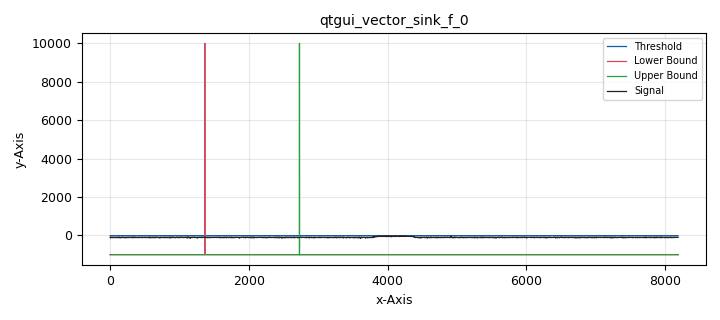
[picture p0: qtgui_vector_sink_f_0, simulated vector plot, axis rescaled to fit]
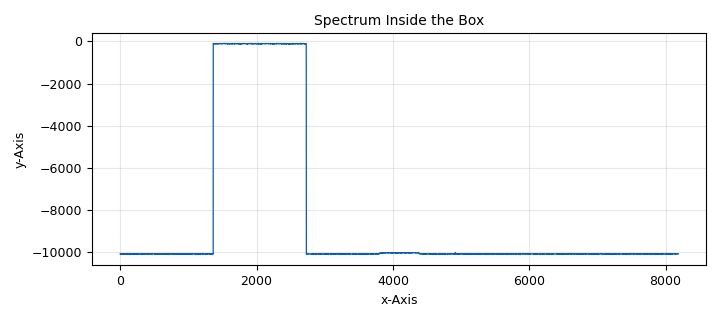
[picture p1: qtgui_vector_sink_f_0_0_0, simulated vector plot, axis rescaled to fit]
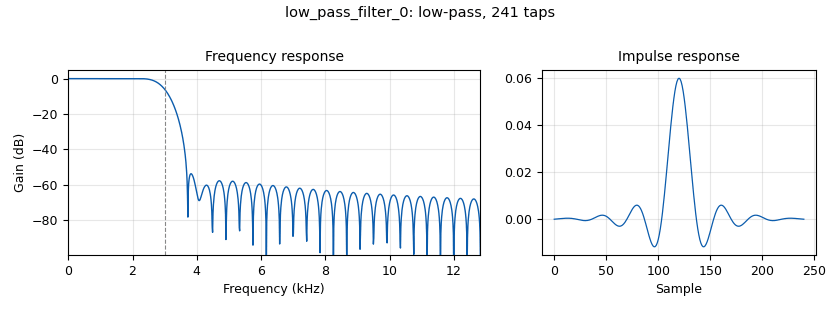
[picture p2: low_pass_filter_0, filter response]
options:
  parameters:
    author: muaddib
    description: Use range widgets as bounding boxes for operations on sub-band
    generate_options: qt_gui
    id: bandlimited_threshold_detector
    output_language: python
    title: Bandlimited Threshold Detector
  states: {}

blocks:
- name: below_zero
  id: variable
  parameters:
    value: '-1000'
  states: {}
- name: fft_size
  id: variable
  parameters:
    value: '8192'
  states: {}
- name: full_band_size
  id: variable
  parameters:
    value: fft_size
  states: {}
- name: in_box_spec_len
  id: variable
  parameters:
    value: np.abs(up_line_adj-low_line_adj)
  states: {}
- name: low_bound_vec_bottom_half
  id: variable
  parameters:
    value: (low_line_adj)*(below_zero,)
  states: {}
- name: low_bound_vec_top_half
  id: variable
  parameters:
    value: (fft_size-low_line_adj-1)*(below_zero,)
  states: {}
- name: low_line_adj
  id: variable_qtgui_range
  parameters:
    gui_hint: 0,0,1,1
    label: Lower Bound
    outputmsgname: value
    rangeType: int
    showports: 'False'
    start: '1'
    step: '1'
    stop: fft_size-1
    value: fft_size//6
  states: {}
- name: probe_out
  id: variable_function_probe
  parameters:
    block_id: vec_probe
    function_name: level
    poll_rate: '10'
    value: '0'
  states: {state: disabled}
- name: samp_rate
  id: variable
  parameters:
    value: '100000'
  states: {}
- name: thresh_adj
  id: variable_qtgui_range
  parameters:
    gui_hint: 0,1,1,1
    label: Thresh
    outputmsgname: value
    rangeType: int
    showports: 'False'
    start: '-200'
    step: '1'
    stop: '100'
    value: '-10'
  states: {}
- name: thresh_val
  id: variable
  parameters:
    value: '-10'
  states: {state: disabled}
- name: up_bound_vec_bottom_half
  id: variable
  parameters:
    value: (up_line_adj)*(below_zero,)
  states: {}
- name: up_bound_vec_top_half
  id: variable
  parameters:
    value: (fft_size-up_line_adj-1)*(below_zero,)
  states: {}
- name: up_line_adj
  id: variable_qtgui_range
  parameters:
    gui_hint: 0,2,1,1
    label: Upper Bound
    outputmsgname: value
    rangeType: int
    showports: 'False'
    start: '1'
    step: '1'
    stop: fft_size-1
    value: fft_size//3
  states: {}
- name: variable_function_probe_0
  id: variable_function_probe
  parameters:
    block_id: vec_probe
    function_name: level
    poll_rate: '10'
    value: '0'
  states: {state: disabled}
- name: vec_height
  id: variable
  parameters:
    value: '10000'
  states: {}
- name: analog_noise_source_x_0
  id: analog_noise_source_x
  parameters:
    amp: '0.8'
    noise_type: analog.GR_GAUSSIAN
    seed: '0'
    type: complex
  states: {}
- name: analog_noise_source_x_0_0
  id: analog_noise_source_x
  parameters:
    amp: '0.001'
    noise_type: analog.GR_GAUSSIAN
    seed: '0'
    type: complex
  states: {}
- name: analog_sig_source_x_0
  id: analog_sig_source_x
  parameters:
    amp: '0.2'
    freq: 10e3
    offset: '0'
    phase: '0'
    samp_rate: samp_rate
    type: complex
    waveform: analog.GR_COS_WAVE
  states: {}
- name: analog_sig_source_x_0_0
  id: analog_sig_source_x
  parameters:
    amp: '.15'
    freq: 15e3
    offset: '0'
    phase: '0'
    samp_rate: samp_rate
    type: complex
    waveform: analog.GR_COS_WAVE
  states: {}
- name: analog_sig_source_x_0_0_0
  id: analog_sig_source_x
  parameters:
    amp: '0.04'
    freq: '0.25'
    offset: '0'
    phase: '0'
    samp_rate: samp_rate
    type: complex
    waveform: analog.GR_SQR_WAVE
  states: {}
- name: analog_sig_source_x_0_0_0_0
  id: analog_sig_source_x
  parameters:
    amp: '0.15'
    freq: '0.4'
    offset: '0'
    phase: '0'
    samp_rate: samp_rate
    type: complex
    waveform: analog.GR_SQR_WAVE
  states: {}
- name: blocks_add_const_vxx_0
  id: blocks_add_const_vxx
  parameters:
    const: ((below_zero*10),)*(low_line_adj)+(0,)*in_box_spec_len+((below_zero*10),)*(fft_size-up_line_adj)
    type: float
    vlen: fft_size
  states: {}
- name: blocks_add_xx_0
  id: blocks_add_xx
  parameters:
    num_inputs: '4'
    type: complex
  states: {}
- name: blocks_max_xx_0
  id: blocks_max_xx
  parameters:
    num_inputs: '2'
    type: float
    vlen: fft_size
    vlen_out: fft_size
  states: {}
- name: blocks_multiply_xx_0
  id: blocks_multiply_xx
  parameters:
    type: complex
  states: {}
- name: blocks_multiply_xx_0_0
  id: blocks_multiply_xx
  parameters:
    type: complex
  states: {}
- name: blocks_throttle_0
  id: blocks_throttle
  parameters:
    samples_per_second: samp_rate
    type: complex
  states: {}
- name: epy_block_0
  id: epy_block
  parameters:
    _source_code: |
      """
      Embedded Python Blocks:

      Each time this file is saved, GRC will instantiate the first class it finds
      to get ports and parameters of your block. The arguments to __init__  will
      be the parameters. All of them are required to have default values!
      """

      import numpy as np
      from gnuradio import gr
      import time

      class blk(gr.sync_block):  # other base classes are basic_block, decim_block, interp_block
          """Embedded Python Block example - a simple multiply const"""

          def __init__(self, vec_len=8192, peak_detect_file="/tmp/indexes.data"):  # only default arguments here
              """arguments to this function show up as parameters in GRC"""
              gr.sync_block.__init__(
                  self,
                  name='Embedded Python Block',   # will show up in GRC
                  in_sig=[(np.float32,vec_len),(np.float32,vec_len)],
                  out_sig=None
              )
              # if an attribute with the same name as a parameter is found,
              # a callback is registered (properties work, too).
              self.peak_detect_file=peak_detect_file

          def work(self, input_items,output_items):
              for vecindx in range(len(input_items[0])):
                  if len(np.nonzero(input_items[0][vecindx] > input_items[1][vecindx][0])[0])>0:
                      #print("number of crossings: ", len(np.nonzero(input_items[0][vecindx] > input_items[1][vecindx][0])[0]))
                      #print(" level of crossings: ", np.nonzero(input_items[0][vecindx] > input_items[1][vecindx][0]))
                      #print(" index of crossings: ", input_items[0][vecindx][np.nonzero(input_items[0][vecindx] > input_items[1][0])])
                      with open(self.peak_detect_file,'a') as fobj:
                          fobj.write(str(time.time())+str(np.nonzero(input_items[0][vecindx] > input_items[1][vecindx][0])[0])+","+str(input_items[0][vecindx][np.nonzero(input_items[0][vecindx] > input_items[1][0])])+'\n')
              return len(input_items[0])
    peak_detect_file: '''/tmp/indexes.data'''
    vec_len: fft_size
  states: {}
- name: import_0
  id: import
  parameters:
    imports: import time
  states: {}
- name: import_0_0
  id: import
  parameters:
    imports: import numpy as np
  states: {}
- name: import_0_0_0
  id: import
  parameters:
    imports: import random
  states: {}
- name: logpwrfft_x_0
  id: logpwrfft_x
  parameters:
    average: 'False'
    avg_alpha: '1.0'
    fft_size: fft_size
    frame_rate: '30'
    ref_scale: '2'
    sample_rate: samp_rate
    shift: 'True'
    type: complex
  states: {}
- name: low_band_line
  id: blocks_vector_source_x
  parameters:
    repeat: 'True'
    type: float
    vector: low_bound_vec_bottom_half+(vec_height,)+low_bound_vec_top_half
    vlen: fft_size
  states: {}
- name: low_pass_filter_0
  id: low_pass_filter
  parameters:
    cutoff_freq: 3e3
    gain: '1'
    interp: '1'
    samp_rate: samp_rate
    type: interp_fir_filter_ccf
    width: 1e3
    win: window.WIN_HAMMING
  states: {}
- name: qtgui_vector_sink_f_0
  id: qtgui_vector_sink_f
  parameters:
    color4: '"dark red"'
    gui_hint: 1,0,4,4
    label1: Threshold
    label2: Lower Bound
    label3: Upper Bound
    label4: Signal
    nconnections: '4'
    update_time: '0.01'
    vlen: fft_size
    x_start: '0'
    x_step: '1.0'
    ymin: '-100'
  states: {}
- name: qtgui_vector_sink_f_0_0
  id: qtgui_vector_sink_f
  parameters:
    gui_hint: 5,2,1,2
    label1: Threshold Xing
    name: '"Spectrum Inside the Box Greater than Threshold"'
    update_time: '0.01'
    vlen: fft_size
    x_start: '0'
    x_step: '1.0'
    ymin: '-100'
  states: {}
- name: qtgui_vector_sink_f_0_0_0
  id: qtgui_vector_sink_f
  parameters:
    gui_hint: 5,0,1,2
    label1: Signal
    name: '"Spectrum Inside the Box"'
    update_time: '0.01'
    vlen: fft_size
    x_start: '0'
    x_step: '1.0'
    ymin: '-100'
  states: {}
- name: snippet_0
  id: snippet
  parameters:
    code: print(self.vec_probe.level()[0])
    section: main_after_start
  states: {state: disabled}
- name: thresh_line
  id: blocks_vector_source_x
  parameters:
    repeat: 'True'
    type: float
    vector: (thresh_adj,)*full_band_size
    vlen: fft_size
  states: {}
- name: upper_band_line
  id: blocks_vector_source_x
  parameters:
    repeat: 'True'
    type: float
    vector: up_bound_vec_bottom_half+(vec_height,)+up_bound_vec_top_half
    vlen: fft_size
  states: {}
- name: vec_probe
  id: blocks_probe_signal_vx
  parameters:
    type: float
    vlen: fft_size
  states: {state: disabled}
- name: zeromq_pub_sink_0
  id: zeromq_pub_sink
  parameters:
    address: tcp://127.0.0.1:5500
    pass_tags: 'True'
    timeout: '100'
    type: float
    vlen: fft_size
  states: {state: disabled}

connections:
- [analog_noise_source_x_0, '0', low_pass_filter_0, '0']
- [analog_noise_source_x_0_0, '0', blocks_add_xx_0, '0']
- [analog_sig_source_x_0, '0', blocks_multiply_xx_0_0, '0']
- [analog_sig_source_x_0_0, '0', blocks_multiply_xx_0, '0']
- [analog_sig_source_x_0_0_0, '0', blocks_multiply_xx_0, '1']
- [analog_sig_source_x_0_0_0_0, '0', blocks_multiply_xx_0_0, '1']
- [blocks_add_const_vxx_0, '0', blocks_max_xx_0, '1']
- [blocks_add_const_vxx_0, '0', qtgui_vector_sink_f_0_0_0, '0']
- [blocks_add_xx_0, '0', blocks_throttle_0, '0']
- [blocks_max_xx_0, '0', epy_block_0, '0']
- [blocks_max_xx_0, '0', qtgui_vector_sink_f_0_0, '0']
- [blocks_max_xx_0, '0', zeromq_pub_sink_0, '0']
- [blocks_multiply_xx_0, '0', blocks_add_xx_0, '2']
- [blocks_multiply_xx_0_0, '0', blocks_add_xx_0, '1']
- [blocks_throttle_0, '0', logpwrfft_x_0, '0']
- [logpwrfft_x_0, '0', blocks_add_const_vxx_0, '0']
- [logpwrfft_x_0, '0', qtgui_vector_sink_f_0, '3']
- [low_band_line, '0', qtgui_vector_sink_f_0, '1']
- [low_pass_filter_0, '0', blocks_add_xx_0, '3']
- [thresh_line, '0', blocks_max_xx_0, '0']
- [thresh_line, '0', epy_block_0, '1']
- [thresh_line, '0', qtgui_vector_sink_f_0, '0']
- [thresh_line, '0', vec_probe, '0']
- [upper_band_line, '0', qtgui_vector_sink_f_0, '2']

metadata:
  file_format: 1
  grc_version: v3.11.0.0git-214-g6c34c6bb
